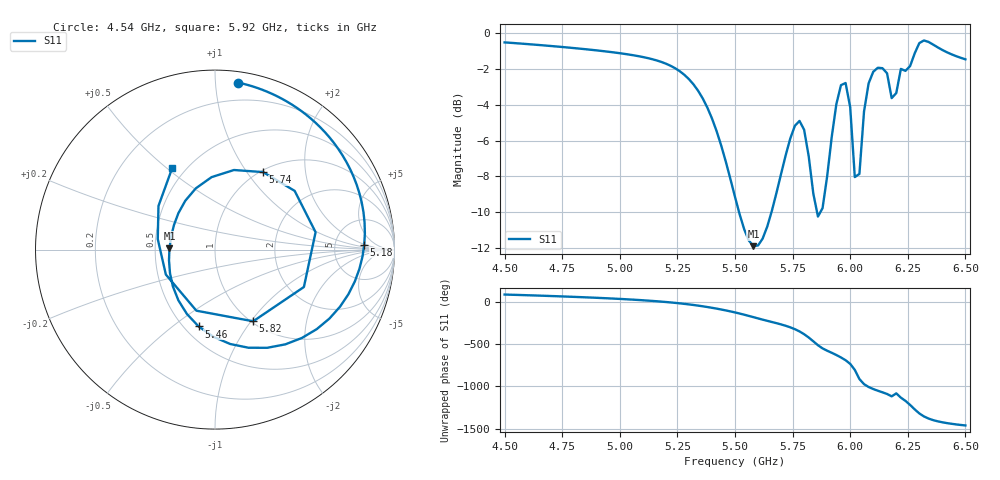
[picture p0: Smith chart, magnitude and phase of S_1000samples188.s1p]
! TOUCHSTONE file generated by CST MICROWAVE STUDIO
! Date and time: Thu Oct 27 07:39:39 2022
! Project name: L.cst
! Parameters = {Di=1.27; Epsilon_r=1.56; InnerDiameter=1.27; Length=2; Lf=10; Lg=60; OuterConductorThickness=0.2921; OuterDiameter=3.6; Wf=3; Wp=41.2; de=1.5; df=6.8; g=0.8; gx=4.31892; gy=2.4284; h=2.34; hf=1.524; px=11.4763; py=14.7088; w=9.7; wx=7.15738; wy=12.2804}
! Header version: 2018
! Port assignment regex: !\s*Touchstone port\s*([0-9]+)\s*=\s*(CST MWS port|CST DS port)\s*([0-9]+|Zmin|Zmax)\s*\(\"(.*)\"\)(\s*mode\s*([0-9]+))?.*
! Touchstone port assignment:
! Touchstone port 1 = CST MWS port 1 ("")
# GHz S DB R 50
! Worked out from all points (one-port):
!   101 points, 4.5 GHz to 6.5 GHz, reference 50 ohm
!   lowest |S11| = -11.9 dB at 5.58 GHz (marker M1), VSWR 1.68, Z = 29.8 + j0.467 ohm
!   |S11| at or under -10 dB: 5.517 GHz to 5.659 GHz (141 MHz wide, 2.52 % of centre); 5.856015 GHz to 5.870839 GHz (14.82 MHz wide, 0.253 % of centre)
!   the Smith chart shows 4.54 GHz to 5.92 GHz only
!   S11 on the Smith chart (normalised r, x): 4.54 GHz: 0.07, +1.14; 5.18 GHz: 11, +2; 5.46 GHz: 0.59, -0.62; 5.74 GHz: 1.03, +1.19; 5.82 GHz: 1.02, -1.02; 5.92 GHz: 0.42, +0.52
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4.5  -0.51 85.4
4.54  -0.54 82.1
4.76  -0.77 62.2
5  -1.11 33.7
5.18  -1.60 1.9
5.26  -2.12 -18.5
5.46  -7.18 -102.0
5.5  -9.15 -125.8
5.58  -11.91 178.3
5.74  -5.88 58.2
5.76  -5.17 36.4
5.82  -6.89 -62.0
5.86  -10.25 -153.0
5.92  -5.78 117.6
5.96  -2.90 62.6
6  -4.13 -13.1
6.02  -8.04 -84.3
6.04  -7.87 167.6
6.08  -2.80 73.7
6.14  -1.95 11.1
6.18  -3.62 -36.7
6.2  -3.34 -1.6
6.22  -1.99 -52.0
6.26  -1.83 -137.5
6.28  -1.12 169.4
6.32  -0.40 86.3
6.38  -0.78 28.4
6.5  -1.45 -20.3
